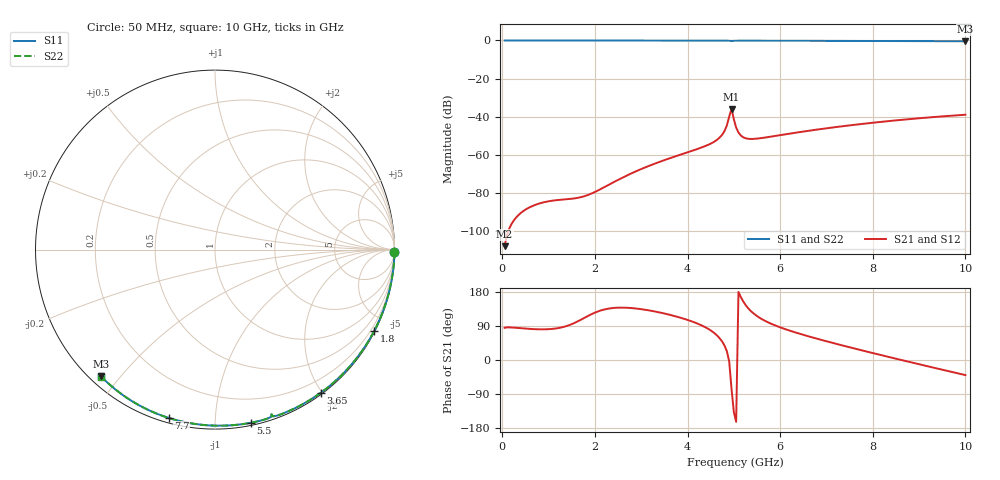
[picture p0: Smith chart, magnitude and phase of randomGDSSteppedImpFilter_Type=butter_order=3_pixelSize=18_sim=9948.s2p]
! freq	dB(S11)	phase(S11)	dB(S12)	phase(S12)
!  dB(S21)	phase(S21)	dB(S22)	phase(S22)
!S-par simulation data
#  GHz  S  DB  R 50
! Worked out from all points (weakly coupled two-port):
!   200 points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, 50 MHz to 10 GHz, reference 50 ohm
!   highest |S21| = -35.89 dB at 4.95 GHz (marker M1); lowest = -107.9 dB at 50 MHz (marker M2)
!   lowest |S11| = -0.4 dB at 10 GHz (marker M3), VSWR 38.73, Z = 1.55 - j22.3 ohm
!   |S11| at or under -10 dB: nowhere
!   |S22| runs from -0.4 to 0.0 dB; largest |S21 - S12| = 0
!   S11 on the Smith chart (normalised r, x): 50 MHz: open; 1.8 GHz: 0.04, -4.16; 3.65 GHz: 0.02, -1.98; 5.5 GHz: 0.02, -1.23; 7.7 GHz: 0.02, -0.76; 10 GHz: 0.03, -0.45
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0.05  -0.00 -0.8  -107.95 84.9  -107.95 84.9  -0.00 -0.8
1.75  -0.03 -26.3  -81.90 109.8  -81.90 109.8  -0.03 -26.3
1.8  -0.03 -27.0  -81.51 113.0  -81.51 113.0  -0.03 -27.0
2  -0.04 -30.0  -79.52 125.0  -79.52 125.0  -0.04 -30.0
2.75  -0.05 -40.9  -70.17 137.4  -70.17 137.4  -0.05 -40.8
3.4  -0.07 -50.1  -63.67 125.4  -63.67 125.4  -0.07 -50.1
3.65  -0.07 -53.6  -61.53 118.2  -61.53 118.2  -0.07 -53.5
4.4  -0.09 -63.9  -55.24 85.4  -55.24 85.4  -0.09 -63.8
4.65  -0.10 -67.3  -51.87 63.1  -51.87 63.1  -0.10 -67.2
4.8  -0.11 -69.4  -47.46 37.8  -47.46 37.8  -0.11 -69.4
4.85  -0.12 -70.2  -44.57 22.9  -44.57 22.9  -0.12 -70.1
4.95  -0.27 -71.1  -35.89 -76.2  -35.89 -76.2  -0.26 -71.0
5  -0.16 -71.3  -41.37 -137.6  -41.37 -137.6  -0.16 -71.3
5.05  -0.13 -72.1  -45.71 -163.3  -45.71 -163.3  -0.13 -72.1
5.1  -0.12 -72.9  -48.30 179.7  -48.30 179.7  -0.12 -72.9
5.2  -0.12 -74.3  -50.77 155.1  -50.77 155.1  -0.12 -74.2
5.3  -0.12 -75.6  -51.57 137.9  -51.57 137.9  -0.12 -75.6
5.5  -0.13 -78.2  -51.51 115.9  -51.51 115.9  -0.13 -78.2
6.7  -0.18 -93.4  -47.10 59.4  -47.10 59.4  -0.18 -93.3
7.7  -0.24 -105.4  -43.99 27.4  -43.99 27.4  -0.24 -105.4
8.35  -0.29 -113.0  -42.29 7.9  -42.29 7.9  -0.29 -113.0
10  -0.45 -131.9  -38.98 -39.8  -38.98 -39.8  -0.45 -131.9
